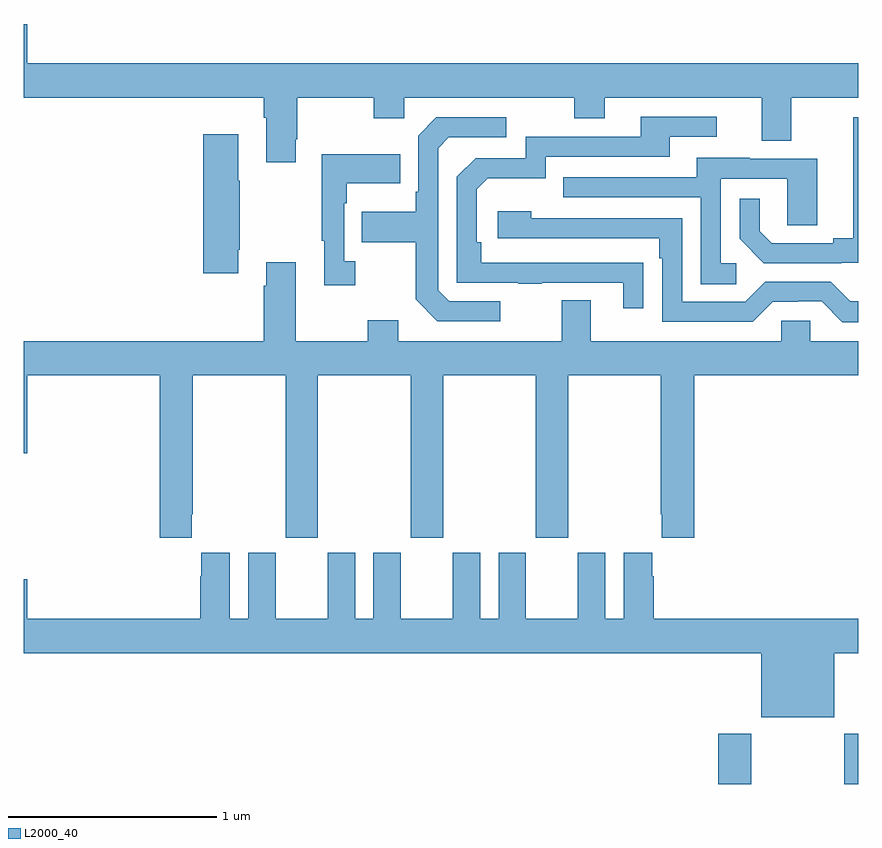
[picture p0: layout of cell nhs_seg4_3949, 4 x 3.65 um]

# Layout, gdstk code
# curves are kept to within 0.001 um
import gdstk
lib = gdstk.Library(unit=1e-6, precision=1e-09)
def R(c, l, rs):  # rectangles x0, y0, x1, y1
    for r in rs: c.add(gdstk.rectangle(r[:2], r[2:], *l))
def P(c, l, *ps):  # polygons
    for p in ps: c.add(gdstk.Polygon(p, *l))
L2000_40 = (2000, 40)

nhs_seg4_3949 = lib.new_cell('nhs_seg4_3949')
R(nhs_seg4_3949, L2000_40, [(324.329,754.9,324.489,755.14), (324.934,754.9,325,755.14)])
P(nhs_seg4_3949, L2000_40, [(322.303,757.993),(322.311,757.993),(322.311,758.192),(322.678,758.192),(322.678,758.093),(322.824,758.093),(322.824,758.192),(323.638,758.192),(323.638,758.093),(323.785,758.093),(323.785,758.192),(324.539,758.192),(324.539,757.984),(324.679,757.984),(324.679,758.192),(325,758.192),(325,758.356),(321.016,758.356),(321.016,758.545),(321,758.545),(321,758.192),(322.151,758.192),(322.151,758.096),(322.163,758.096),(322.163,757.881),(322.303,757.881)],
  [(323.969,757.4),(323.192,757.401),(323.192,757.498),(323.172,757.498),(323.172,757.752),(323.225,757.805),(323.502,757.805),(323.502,757.908),(324.097,757.908),(324.097,758.004),(324.322,758.004),(324.322,758.1),(323.957,758.1),(323.957,758.004),(323.406,758.004),(323.406,757.902),(323.166,757.902),(323.076,757.812),(323.076,757.305),(323.371,757.305),(323.371,757.3),(323.483,757.3),(323.483,757.305),(323.873,757.305),(323.873,757.182),(323.969,757.182)],
  [(323.284,757.215),(323.04,757.215),(322.986,757.269),(322.986,757.95),(323.037,758.001),(323.314,758.001),(323.314,758.097),(322.977,758.097),(322.89,758.01),(322.89,757.741),(322.878,757.741),(322.878,757.645),(322.621,757.645),(322.621,757.498),(322.878,757.498),(322.878,757.225),(322.983,757.119),(323.284,757.119)],
  [(324.92,757.401),(325,757.401),(325,758.097),(324.977,758.097),(324.977,757.517),(324.881,757.517),(324.881,757.494),(324.586,757.494),(324.529,757.551),(324.529,757.708),(324.432,757.708),(324.432,757.514),(324.548,757.398),(324.92,757.398)],
  [(322.027,757.462),(322.035,757.462),(322.035,757.793),(322.027,757.793),(322.027,758.017),(321.86,758.017),(321.86,757.35),(322.027,757.35)],
  [(322.588,757.406),(322.536,757.406),(322.536,757.685),(322.549,757.685),(322.549,757.781),(322.805,757.781),(322.805,757.921),(322.428,757.921),(322.428,757.505),(322.439,757.505),(322.439,757.293),(322.588,757.293)],
  [(324.415,757.398),(324.342,757.398),(324.342,757.803),(324.66,757.803),(324.66,757.579),(324.805,757.579),(324.805,757.899),(324.481,757.899),(324.481,757.903),(324.227,757.903),(324.227,757.809),(323.587,757.809),(323.587,757.713),(324.246,757.713),(324.246,757.297),(324.415,757.297)],
  [(325,757.215),(324.963,757.215),(324.87,757.308),(324.555,757.308),(324.459,757.212),(324.156,757.212),(324.156,757.614),(323.432,757.614),(323.432,757.648),(323.271,757.648),(323.271,757.518),(324.047,757.518),(324.047,757.421),(324.06,757.421),(324.06,757.116),(324.495,757.116),(324.591,757.212),(324.71,757.212),(324.71,757.215),(324.825,757.215),(324.925,757.115),(325,757.115)],
  [(321.805,756.193),(321.81,756.193),(321.81,756.86),(322.255,756.86),(322.255,756.081),(322.41,756.081),(322.41,756.86),(322.855,756.86),(322.855,756.081),(323.01,756.081),(323.01,756.86),(323.455,756.86),(323.455,756.081),(323.61,756.081),(323.61,756.86),(324.055,756.86),(324.055,756.193),(324.059,756.193),(324.059,756.081),(324.215,756.081),(324.215,756.86),(325,756.86),(325,757.024),(324.771,757.024),(324.771,757.122),(324.633,757.122),(324.633,757.024),(323.719,757.024),(323.719,757.219),(323.579,757.219),(323.579,757.024),(322.795,757.024),(322.795,757.123),(322.648,757.123),(322.648,757.024),(322.303,757.024),(322.303,757.402),(322.163,757.402),(322.163,757.289),(322.151,757.289),(322.151,757.024),(321,757.024),(321,756.486),(321.016,756.486),(321.016,756.86),(321.65,756.86),(321.65,756.081),(321.805,756.081)],
  [(323.276,756.01),(323.276,755.692),(323.188,755.692),(323.188,756.01),(323.057,756.01),(323.057,755.692),(322.807,755.692),(322.807,756.01),(322.676,756.01),(322.676,755.692),(322.588,755.692),(322.588,756.01),(322.457,756.01),(322.457,755.692),(322.207,755.692),(322.207,756.01),(322.076,756.01),(322.076,755.692),(321.988,755.692),(321.988,756.01),(321.851,756.01),(321.851,755.897),(321.845,755.897),(321.845,755.692),(321.016,755.692),(321.016,755.881),(321,755.881),(321,755.528),(324.536,755.528),(324.536,755.219),(324.886,755.219),(324.886,755.528),(325,755.528),(325,755.692),(324.02,755.692),(324.02,755.897),(324.013,755.897),(324.013,756.01),(323.876,756.01),(323.876,755.692),(323.788,755.692),(323.788,756.01),(323.657,756.01),(323.657,755.692),(323.407,755.692),(323.407,756.01)])

lib.write_gds('nhs_seg4_3949.gds')
